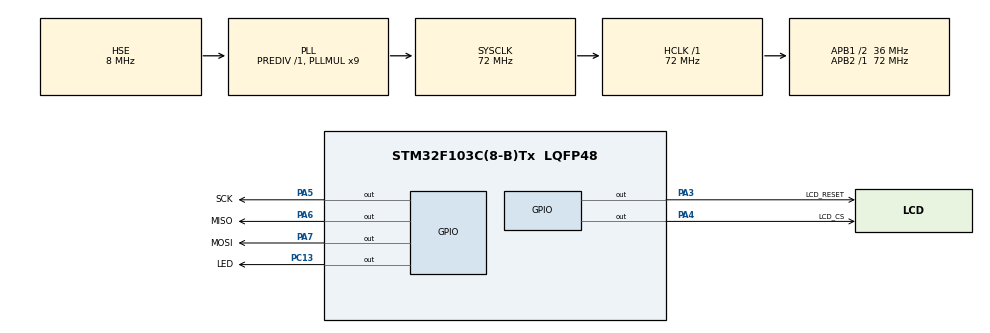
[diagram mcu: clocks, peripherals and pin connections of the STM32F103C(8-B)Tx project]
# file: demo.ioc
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Mcu.Family=STM32F1
Mcu.Name=STM32F103C(8-B)Tx
Mcu.Package=LQFP48
NVIC.PriorityGroup=NVIC_PRIORITYGROUP_4
PA13.Mode=Trace_Asynchronous_SW
PA13.Signal=SYS_JTMS-SWDIO
PA14.Mode=Trace_Asynchronous_SW
PA14.Signal=SYS_JTCK-SWCLK
PA3.GPIO_Label=LCD_RESET
PA3.PinState=GPIO_PIN_SET
PA3.Signal=GPIO_Output
PA4.GPIO_Label=LCD_CS
PA4.GPIO_Speed=GPIO_SPEED_FREQ_LOW
PA4.PinState=GPIO_PIN_SET
PA4.Signal=GPIO_Output
PA5.GPIO_Label=SCK
PA5.GPIO_Speed=GPIO_SPEED_FREQ_HIGH
PA5.PinState=GPIO_PIN_RESET
PA5.Signal=GPIO_Output
PA6.GPIO_Label=MISO
PA6.GPIO_Speed=GPIO_SPEED_FREQ_HIGH
PA6.Signal=GPIO_Output
PA7.GPIO_Label=MOSI
PA7.Signal=GPIO_Output
PB3.Mode=Trace_Asynchronous_SW
PB3.Signal=SYS_JTDO-TRACESWO
PC13-TAMPER-RTC.GPIO_Label=LED
PC13-TAMPER-RTC.Signal=GPIO_Output
PC14-OSC32_IN.Mode=LSE-External-Oscillator
PC14-OSC32_IN.Signal=RCC_OSC32_IN
PC15-OSC32_OUT.Mode=LSE-External-Oscillator
PC15-OSC32_OUT.Signal=RCC_OSC32_OUT
PD0-OSC_IN.Mode=HSE-External-Oscillator
PD0-OSC_IN.Signal=RCC_OSC_IN
PD1-OSC_OUT.Mode=HSE-External-Oscillator
PD1-OSC_OUT.Signal=RCC_OSC_OUT
ProjectManager.HeapSize=0x200
ProjectManager.StackSize=0x400
ProjectManager.TargetToolchain=TrueSTUDIO
RCC.AHBFreq_Value=72000000
RCC.APB1CLKDivider=RCC_HCLK_DIV2
RCC.APB1Freq_Value=36000000
RCC.APB1TimFreq_Value=72000000
RCC.APB2Freq_Value=72000000
RCC.APB2TimFreq_Value=72000000
RCC.HCLKFreq_Value=72000000
RCC.PLLMUL=RCC_PLL_MUL9
RCC.PLLSourceVirtual=RCC_PLLSOURCE_HSE
RCC.SYSCLKFreq_VALUE=72000000
RCC.SYSCLKSource=RCC_SYSCLKSOURCE_PLLCLK
RCC.USBFreq_Value=72000000
board=custom

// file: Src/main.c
/* USER CODE BEGIN Header */
/**
  ******************************************************************************
  * @file           : main.c
  * @brief          : Main program body
  ******************************************************************************
  * @attention
  *
  * <h2><center>&copy; Copyright (c) 2019 STMicroelectronics.
  * All rights reserved.</center></h2>
  *
  * This software component is licensed by ST under BSD 3-Clause license,
  * the "License"; You may not use this file except in compliance with the
  * License. You may obtain a copy of the License at:
  *                        opensource.org/licenses/BSD-3-Clause
  *
  ******************************************************************************
  */
/* USER CODE END Header */

#include "main.h"

/* USER CODE BEGIN Includes */
#include "u8g2/u8g2.h"
/* USER CODE END Includes */

void SystemClock_Config(void);
static void MX_GPIO_Init(void);
/* USER CODE BEGIN PFP */
uint8_t u8g2_gpio_and_delay_stm32(U8X8_UNUSED u8x8_t *u8x8, U8X8_UNUSED uint8_t msg, U8X8_UNUSED uint8_t arg_int, U8X8_UNUSED void *arg_ptr)
{
	switch(msg){
		//Initialize SPI peripheral
		case U8X8_MSG_GPIO_AND_DELAY_INIT:
			/* HAL initialization contains all what we need so we can skip this part. */

		break;

		//Function which implements a delay, arg_int contains the amount of ms
		case U8X8_MSG_DELAY_MILLI:
		HAL_Delay(arg_int);

		break;
		//Function which delays 10us
		case U8X8_MSG_DELAY_10MICRO:
		for (uint16_t n = 0; n < 320; n++)
		{
			__NOP();
		}

		break;
		//Function which delays 100ns
		case U8X8_MSG_DELAY_100NANO:
		__NOP();

		break;
		//Function to define the logic level of the clockline
		case U8X8_MSG_GPIO_SPI_CLOCK:
			if (arg_int) HAL_GPIO_WritePin(SCK_GPIO_Port, SCK_Pin, RESET);
			else HAL_GPIO_WritePin(SCK_GPIO_Port, SCK_Pin, SET);

		break;
		//Function to define the logic level of the data line to the display
		case U8X8_MSG_GPIO_SPI_DATA:
			if (arg_int) HAL_GPIO_WritePin(MOSI_GPIO_Port, MOSI_Pin, SET);
			else HAL_GPIO_WritePin(MOSI_GPIO_Port, MOSI_Pin, RESET);

		break;
		// Function to define the logic level of the CS line
		case U8X8_MSG_GPIO_CS:
			if (arg_int) HAL_GPIO_WritePin(LCD_CS_GPIO_Port, LCD_CS_Pin, RESET);
			else HAL_GPIO_WritePin(LCD_CS_GPIO_Port, LCD_CS_Pin, SET);

		break;
		//Function to define the logic level of the Data/ Command line
		case U8X8_MSG_GPIO_DC:
//			if (arg_int) HAL_GPIO_WritePin(CD_LCD_PORT, CD_LCD_PIN, SET);
//			else HAL_GPIO_WritePin(CD_LCD_PORT, CD_LCD_PIN, RESET);

		break;
		//Function to define the logic level of the RESET line
		case U8X8_MSG_GPIO_RESET:
			if (arg_int) HAL_GPIO_WritePin(LCD_RESET_GPIO_Port, LCD_RESET_Pin, SET);
			else HAL_GPIO_WritePin(LCD_RESET_GPIO_Port, LCD_RESET_Pin, RESET);

		break;
		default:
			return 0; //A message was received which is not implemented, return 0 to indicate an error
	}

	return 1; // command processed successfully.
}
/* USER CODE END PFP */

int main(void)
{
  /* USER CODE BEGIN 1 */
	u8g2_t u8g2;
  /* USER CODE END 1 */

  /* MCU Configuration--------------------------------------------------------*/

  /* Reset of all peripherals, Initializes the Flash interface and the Systick. */
  HAL_Init();

  /* Configure the system clock */
  SystemClock_Config();

  /* Initialize all configured peripherals */
  MX_GPIO_Init();
  /* USER CODE BEGIN 2 */

  u8g2_Setup_st7920_p_128x64_1(&u8g2, U8G2_R0, u8x8_byte_3wire_sw_spi, u8g2_gpio_and_delay_stm32);
  u8g2_InitDisplay(&u8g2); // send init sequence to the display, display is in sleep mode after this,
  u8g2_SetPowerSave(&u8g2, 0); // wake up display

  HAL_GPIO_WritePin(LCD_RESET_GPIO_Port, LCD_RESET_Pin, RESET);
  HAL_Delay(100);
  HAL_GPIO_WritePin(LCD_RESET_GPIO_Port, LCD_RESET_Pin, SET);
  HAL_Delay(200);

  HAL_Delay(1000);

  u8g2_DrawLine(&u8g2, 50,50, 100, 100);
  u8g2_SendBuffer(&u8g2);

  /* USER CODE END 2 */

  /* Infinite loop */
  while (1)
  {

  }
}

void SystemClock_Config(void)
{
  RCC_OscInitTypeDef RCC_OscInitStruct = {0};
  RCC_ClkInitTypeDef RCC_ClkInitStruct = {0};

  /** Initializes the CPU, AHB and APB busses clocks
  */
  RCC_OscInitStruct.OscillatorType = RCC_OSCILLATORTYPE_HSE;
  RCC_OscInitStruct.HSEState = RCC_HSE_ON;
  RCC_OscInitStruct.HSEPredivValue = RCC_HSE_PREDIV_DIV1;
  RCC_OscInitStruct.HSIState = RCC_HSI_ON;
  RCC_OscInitStruct.PLL.PLLState = RCC_PLL_ON;
  RCC_OscInitStruct.PLL.PLLSource = RCC_PLLSOURCE_HSE;
  RCC_OscInitStruct.PLL.PLLMUL = RCC_PLL_MUL9;
  if (HAL_RCC_OscConfig(&RCC_OscInitStruct) != HAL_OK)
  {
    Error_Handler();
  }
  /** Initializes the CPU, AHB and APB busses clocks
  */
  RCC_ClkInitStruct.ClockType = RCC_CLOCKTYPE_HCLK|RCC_CLOCKTYPE_SYSCLK
                              |RCC_CLOCKTYPE_PCLK1|RCC_CLOCKTYPE_PCLK2;
  RCC_ClkInitStruct.SYSCLKSource = RCC_SYSCLKSOURCE_PLLCLK;
  RCC_ClkInitStruct.AHBCLKDivider = RCC_SYSCLK_DIV1;
  RCC_ClkInitStruct.APB1CLKDivider = RCC_HCLK_DIV2;
  RCC_ClkInitStruct.APB2CLKDivider = RCC_HCLK_DIV1;

  if (HAL_RCC_ClockConfig(&RCC_ClkInitStruct, FLASH_LATENCY_2) != HAL_OK)
  {
    Error_Handler();
  }
}

static void MX_GPIO_Init(void)
{
  GPIO_InitTypeDef GPIO_InitStruct = {0};

  /* GPIO Ports Clock Enable */
  __HAL_RCC_GPIOC_CLK_ENABLE();
  __HAL_RCC_GPIOD_CLK_ENABLE();
  __HAL_RCC_GPIOA_CLK_ENABLE();
  __HAL_RCC_GPIOB_CLK_ENABLE();

  /*Configure GPIO pin Output Level */
  HAL_GPIO_WritePin(LED_GPIO_Port, LED_Pin, GPIO_PIN_RESET);

  /*Configure GPIO pin Output Level */
  HAL_GPIO_WritePin(GPIOA, LCD_RESET_Pin|LCD_CS_Pin, GPIO_PIN_SET);

  /*Configure GPIO pin Output Level */
  HAL_GPIO_WritePin(GPIOA, SCK_Pin|MISO_Pin|MOSI_Pin, GPIO_PIN_RESET);

  /*Configure GPIO pin : LED_Pin */
  GPIO_InitStruct.Pin = LED_Pin;
  GPIO_InitStruct.Mode = GPIO_MODE_OUTPUT_PP;
  GPIO_InitStruct.Pull = GPIO_NOPULL;
  GPIO_InitStruct.Speed = GPIO_SPEED_FREQ_LOW;
  HAL_GPIO_Init(LED_GPIO_Port, &GPIO_InitStruct);

  /*Configure GPIO pins : LCD_RESET_Pin LCD_CS_Pin MOSI_Pin */
  GPIO_InitStruct.Pin = LCD_RESET_Pin|LCD_CS_Pin|MOSI_Pin;
  GPIO_InitStruct.Mode = GPIO_MODE_OUTPUT_PP;
  GPIO_InitStruct.Pull = GPIO_NOPULL;
  GPIO_InitStruct.Speed = GPIO_SPEED_FREQ_LOW;
  HAL_GPIO_Init(GPIOA, &GPIO_InitStruct);

  /*Configure GPIO pins : SCK_Pin MISO_Pin */
  GPIO_InitStruct.Pin = SCK_Pin|MISO_Pin;
  GPIO_InitStruct.Mode = GPIO_MODE_OUTPUT_PP;
  GPIO_InitStruct.Pull = GPIO_NOPULL;
  GPIO_InitStruct.Speed = GPIO_SPEED_FREQ_HIGH;
  HAL_GPIO_Init(GPIOA, &GPIO_InitStruct);

}

void Error_Handler(void)
{
}

/************************ (C) COPYRIGHT STMicroelectronics *****END OF FILE****/
